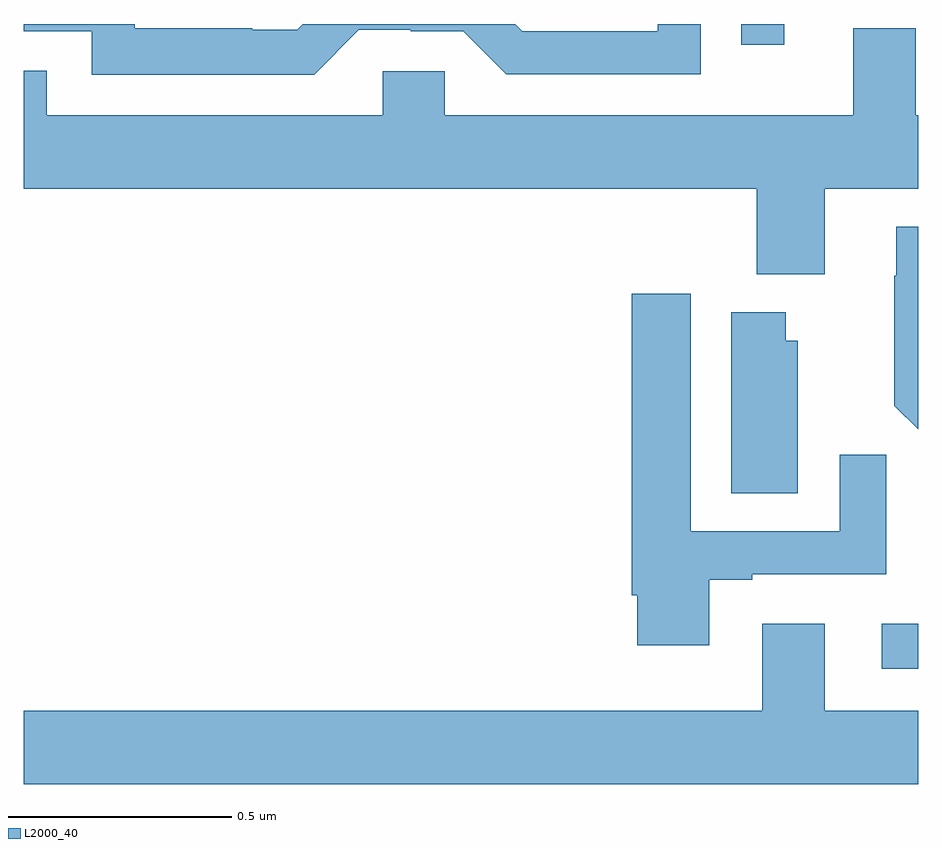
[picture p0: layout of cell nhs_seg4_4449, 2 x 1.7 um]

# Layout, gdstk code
import gdstk
lib = gdstk.Library(unit=1e-6, precision=1e-09)
def R(c, l, rs):  # rectangles x0, y0, x1, y1
    for r in rs: c.add(gdstk.rectangle(r[:2], r[2:], *l))
def P(c, l, *ps):  # polygons
    for p in ps: c.add(gdstk.Polygon(p, *l))
L2000_40 = (2000, 40)

nhs_seg4_4449 = lib.new_cell('nhs_seg4_4449')
R(nhs_seg4_4449, L2000_40, [(167.919,750.458,168,750.559), (167.605,751.854,167.701,751.9)])
P(nhs_seg4_4449, L2000_40, [(166.749,751.887),(166.865,751.887),(166.865,751.884),(166.983,751.884),(167.079,751.788),(167.514,751.788),(167.514,751.9),(167.418,751.9),(167.418,751.884),(167.115,751.884),(167.099,751.9),(166.624,751.9),(166.611,751.887),(166.511,751.887),(166.511,751.891),(166.248,751.891),(166.248,751.9),(166,751.9),(166,751.884),(166.152,751.884),(166.152,751.787),(166.649,751.787)],
  [(167.791,751.532),(168,751.532),(168,751.696),(167.995,751.696),(167.995,751.891),(167.855,751.891),(167.855,751.696),(166.941,751.696),(166.941,751.794),(166.803,751.794),(166.803,751.696),(166.051,751.696),(166.051,751.795),(166,751.795),(166,751.532),(167.639,751.532),(167.639,751.34),(167.791,751.34)],
  [(168,751.447),(167.951,751.447),(167.951,751.337),(167.947,751.337),(167.947,751.046),(168,750.993)],
  [(167.533,750.657),(167.629,750.657),(167.629,750.669),(167.929,750.669),(167.929,750.937),(167.825,750.937),(167.825,750.765),(167.491,750.765),(167.491,751.297),(167.36,751.297),(167.36,750.622),(167.372,750.622),(167.372,750.51),(167.533,750.51)],
  [(167.731,751.191),(167.704,751.191),(167.704,751.255),(167.582,751.255),(167.582,750.85),(167.731,750.85)],
  [(168,750.364),(167.791,750.364),(167.791,750.559),(167.651,750.559),(167.651,750.364),(166,750.364),(166,750.2),(168,750.2)])

lib.write_gds('nhs_seg4_4449.gds')
